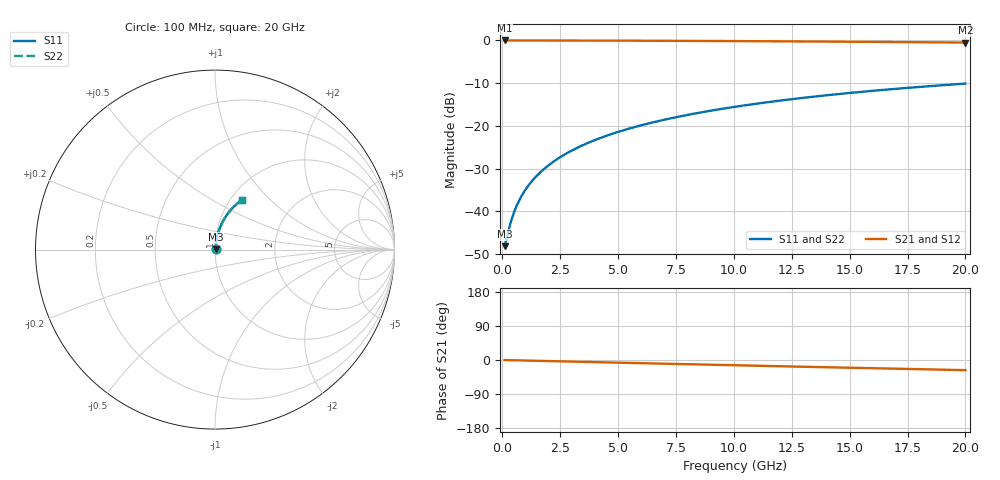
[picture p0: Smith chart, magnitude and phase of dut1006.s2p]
! Touchstone file exported from HFSS 2026.1.0
!  File:  C:/ffzhzh/LocalFiles/Ansys_Project_Files/temp_train_BSMRDL_1006_1783173178_43440.aedt
!  Generated:  09:54:13 PM Jul  4, 2026
!  Design:  BSMRDL
!  Project:  temp_train_BSMRDL_1006_1783173178_43440
! Variables:
!  h_bsmrdl = 2.3um
!  h_ox = 20um
!  h_rdl = 5um
!  h_sub = 80um
!  h_tmrdl = 5um
!  h_tsv = 80um
!  h_via = 3um
!  l_bsmrdl = 317.46um
!  l_sub = 717.46um
!  l_tmrdl = 200um
!  m_sub = 200um
!  pitch = 45.68um
!  r_tsv = 6um
!  s_tmrdl = 10um
!  w_bsmrdl = 15.07um
!  w_sub = 500um
!  w_tmrdl = 12um
!  x_tsv_center1 = 206um
!  x_tsv_center2 = 538.53um
!  x_tsv_center3 = 750.53um
!  x_tsv_center4 = 1083.06um
!  x_tsv_center5 = 1295.06um
!  x_tsv_center6 = 1627.59um
# GHz S MA R 50.000000
! Terminal data exported
! Port[1] = BSM_RDL1_1_T1
! Port[2] = BSM_RDL1_1_T2
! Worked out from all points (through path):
!   200 points, 100 MHz to 20 GHz, reference 50 ohm
!   highest |S21| = -0.03 dB at 100 MHz (marker M1); lowest = -0.5 dB at 20 GHz (marker M2)
!   group delay of S21, straight-line fit = 3.72 ps
!   lowest |S11| = -48.1 dB at 100 MHz (marker M3), VSWR 1.01, Z = 50.4 + j0.182 ohm
!   |S11| at or under -10 dB: start of sweep to end of sweep
!   |S22| runs from -48.1 to -10.1 dB; largest |S21 - S12| = 2.1e-15
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0.1  0.003933 27.3  0.9965 -0.1  0.9965 -0.1  0.003933 27.3
! Gamma 0 0 0 0
! Port Impedance 50 0 50 0
0.3  0.006484 56.1  0.9964 -0.4  0.9964 -0.4  0.006484 56.1
0.4  0.008049 62.5  0.9963 -0.6  0.9963 -0.6  0.008049 62.5
0.5  0.009672 66.7  0.9962 -0.7  0.9962 -0.7  0.009672 66.7
0.6  0.01132 69.6  0.9962 -0.9  0.9962 -0.9  0.01132 69.6
0.7  0.01297 71.7  0.9961 -1.0  0.9961 -1.0  0.01297 71.7
0.9  0.0163 74.6  0.9959 -1.3  0.9959 -1.3  0.0163 74.6
1.2  0.0213 77.2  0.9957 -1.7  0.9957 -1.7  0.0213 77.2
1.4  0.02464 78.3  0.9955 -2.0  0.9955 -2.0  0.02464 78.3
1.7  0.02966 79.4  0.9953 -2.4  0.9953 -2.4  0.02966 79.4
2.2  0.03805 80.3  0.995 -3.1  0.995 -3.1  0.03805 80.3
2.8  0.04815 80.8  0.9944 -3.9  0.9944 -3.9  0.04815 80.8
3.5  0.05992 80.7  0.9937 -4.9  0.9937 -4.9  0.05992 80.7
4.2  0.07167 80.4  0.9928 -5.9  0.9928 -5.9  0.07167 80.4
5  0.08505 79.8  0.9916 -7.0  0.9916 -7.0  0.08505 79.8
5.9  0.1 78.9  0.99 -8.2  0.99 -8.2  0.1 78.9
6.8  0.1149 77.9  0.9882 -9.5  0.9882 -9.5  0.1149 77.9
8.3  0.1393 76.2  0.9847 -11.5  0.9847 -11.5  0.1393 76.2
10.1  0.1681 74.0  0.9798 -14.0  0.9798 -14.0  0.1681 74.0
13.4  0.219 69.9  0.9689 -18.4  0.9689 -18.4  0.219 69.9
16.7  0.2671 65.7  0.956 -22.6  0.956 -22.6  0.2671 65.7
20  0.3122 61.7  0.9417 -26.8  0.9417 -26.8  0.3122 61.7
